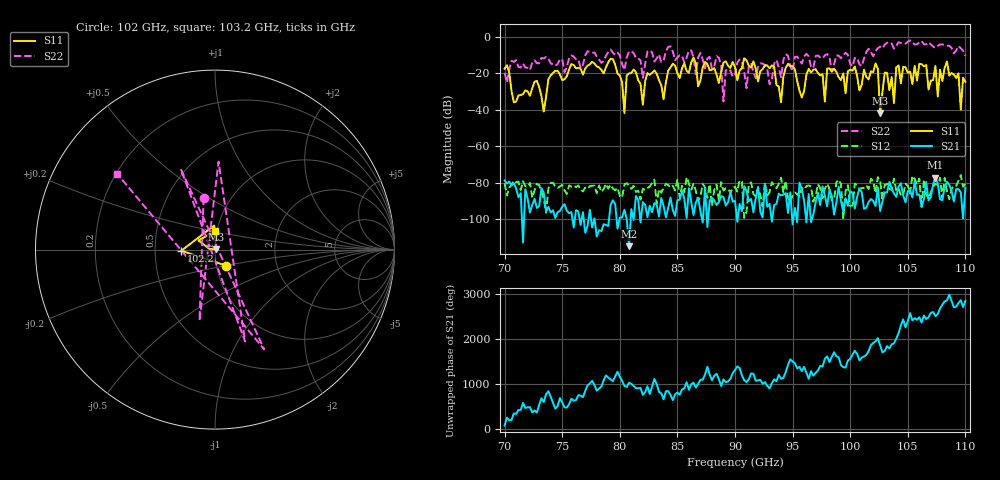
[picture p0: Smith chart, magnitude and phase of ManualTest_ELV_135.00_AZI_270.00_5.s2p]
! 11/25/2026 12:29:33 PM
! C:\ANRITSUVNA\TEMP\TEMP.S2P
! CHANNEL.1
! TR.MEASUREMENT
! RAW.DATA
# HZ S RI R 50.0
! FREQ.HZ  S11RE  S11IM  S21RE  S21IM  S12RE  S12IM  S22RE  S22IM
!; PortSelection: Port_12
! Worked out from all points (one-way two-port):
!   201 points, 70 GHz to 110 GHz, reference 50 ohm
!   highest |S21| = -77.07 dB at 107.4 GHz (marker M1); lowest = -114.6 dB at 80.8 GHz (marker M2)
!   lowest |S11| = -41.8 dB at 102.6 GHz (marker M3), VSWR 1.02, Z = 50.8 + j0.231 ohm
!   |S11| at or under -10 dB: start of sweep to end of sweep
!   |S22| runs from -35.3 to -1.9 dB; largest |S21 - S12| = 0.00022
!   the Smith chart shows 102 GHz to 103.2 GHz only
!   S11 on the Smith chart (normalised r, x): 102 GHz: 1.11, -0.20; 102.2 GHz: 0.68, -0.01; 103.2 GHz: 0.98, +0.20
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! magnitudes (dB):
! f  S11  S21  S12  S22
! 70 GHz  -17.4  -78.7  -80.1  -19.7
! 73.4 GHz  -40.9  -85.3  -88.6  -11.8
! 76.8 GHz  -20.6  -96.0  -84.6  -15.3
! 79.4 GHz  -12.2  -89.5  -83.0  -8.6
! 80.4 GHz  -41.7  -94.6  -80.9  -18.1
! 80.8 GHz  -20.0  -114.6  -81.4  -7.9
! 83.4 GHz  -23.7  -98.4  -83.4  -9.6
! 90 GHz  -16.5  -89.7  -82.1  -20.8
! 94 GHz  -35.7  -86.8  -77.1  -22.1
! 94.6 GHz  -14.8  -96.4  -88.0  -10.3
! 95.8 GHz  -33.2  -83.4  -82.5  -14.6
! 96.8 GHz  -18.0  -97.3  -90.3  -16.9
! 97.8 GHz  -35.4  -87.0  -83.2  -10.0
! 98 GHz  -17.4  -92.7  -80.5  -9.4
! 102 GHz  -19.3  -89.8  -79.2  -10.6
! 102.2 GHz  -14.5  -92.6  -85.6  -7.8
! 102.6 GHz  -41.8  -95.4  -78.7  -5.4
! 103.2 GHz  -19.7  -85.2  -80.6  -3.3
! 103.4 GHz  -29.2  -79.5  -83.3  -2.8
! 107.4 GHz  -15.9  -77.1  -80.4  -6.1
! 109.6 GHz  -39.8  -85.1  -75.7  -6.2
! 110 GHz  -24.6  -82.5  -80.4  -10.4
